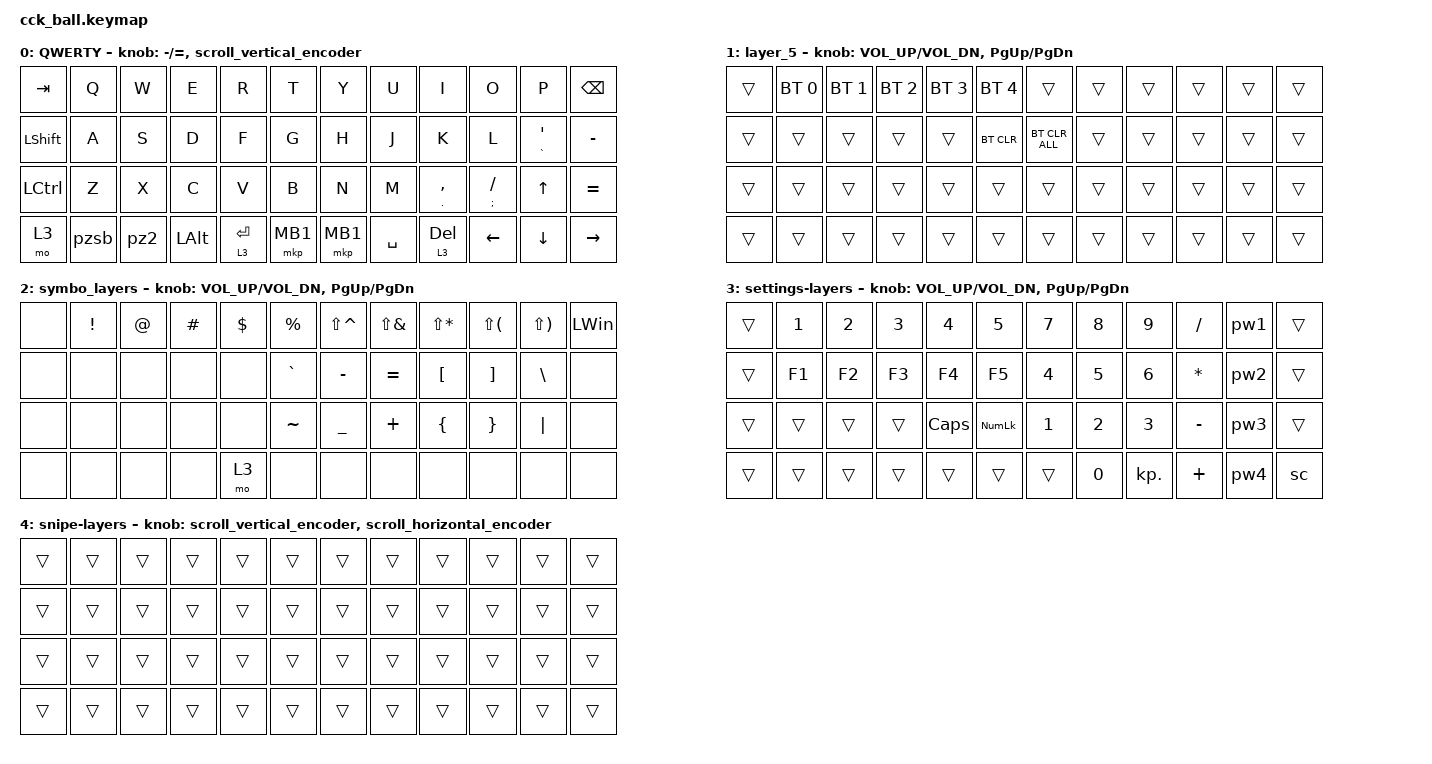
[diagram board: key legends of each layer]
#define ZMK_POINTING_DEFAULT_MOVE_VAL 1000 // 600
#define ZMK_POINTING_DEFAULT_SCRL_VAL 12   // 10

#include <input/processors.dtsi>
#include <zephyr/dt-bindings/input/input-event-codes.h>
#include <behaviors.dtsi>
#include <dt-bindings/zmk/bt.h>
#include <dt-bindings/zmk/keys.h>
#include <dt-bindings/zmk/pointing.h>

&mmv_input_listener { input-processors = <&zip_xy_scaler 2 1>; };

&msc_input_listener { input-processors = <&zip_scroll_scaler 2 1>; };

&msc {
    acceleration-exponent = <0>;      // 0
    time-to-max-speed-ms = <300>;       // 300
    delay-ms = <0>;                   // 0
};

&mmv {
    time-to-max-speed-ms = <500>;
    acceleration-exponent = <1>;
    trigger-period-ms = <16>;
};

&soft_off { hold-time-ms = <2000>; };

/ {
    // 上下滚动编码器行为

    scroll_vertical_encoder: scroll_vertical_encoder {
        compatible = "zmk,behavior-sensor-rotate";
        #sensor-binding-cells = <0>;
        bindings = <&msc SCRL_DOWN>, <&msc SCRL_UP>;

        tap-ms = <100>;
    };

    // 左右滚动编码器行为

    scroll_horizontal_encoder: scroll_horizontal_encoder {
        compatible = "zmk,behavior-sensor-rotate";
        #sensor-binding-cells = <0>;
        bindings = <&msc SCRL_LEFT>, <&msc SCRL_RIGHT>;

        tap-ms = <100>;
    };

    new_behavior: new_behavior {
        compatible = "zmk,behavior-sensor-rotate";
        #sensor-binding-cells = <0>;
        bindings = <&msc SCRL_UP>, <&msc SCRL_DOWN>;

        tap-ms = <100>;
        label = "NEW_BEHAVIOR";
    };

    behaviors {
    };

    combos {
        compatible = "zmk,combos";

        line {
            bindings = <&kp LS(LC(SPACE))>;
            key-positions = <3 4>;
        };

        lie {
            bindings = <&kp LA(LC(SPACE))>;
            key-positions = <3 16>;
        };

        sz {
            bindings = <&kp LS(LC(V))>;
            key-positions = <27 28>;
        };

        shaixuan {
            bindings = <&kp LS(LC(L))>;
            key-positions = <20 21>;
        };

        esc {
            bindings = <&kp ESC>;
            key-positions = <0 1>;
        };

        shunshi {
            bindings = <&mkp MB2>;
            key-positions = <42 43>;
        };

        enter {
            bindings = <&mkp MB2>;
            key-positions = <40 41>;
        };

        reset {
            bindings = <&tog 0>;
            key-positions = <36 37 38>;
        };

        lanya {
            bindings = <&mo 1>;
            key-positions = <36 47>;
        };

        mb {
            bindings = <&mkp MB1>;
            key-positions = <16 15>;
        };

        mb2 {
            bindings = <&mkp MB2>;
            key-positions = <14 15>;
        };

        ml {
            bindings = <&mo 3>;
            key-positions = <14 15 16>;
        };

        input {
            bindings = <&inputpw>;
            key-positions = <11 23>;
        };
    };

    macros {
        pw1: pw1 {
            compatible = "zmk,behavior-macro";
            #binding-cells = <0>;
            bindings = <&kp S &kp J &kp Z &kp N5 &kp N1 &kp N0 &kp N1 &kp N0 &kp N2 &kp N4>;
            label = "PW1";
        };

        pw2: pw2 {
            compatible = "zmk,behavior-macro";
            #binding-cells = <0>;
            bindings = <&kp D &kp L &kp H &kp N1 &kp N4 &kp N8 &kp N9 &kp N5 &kp N2>;
            label = "PW2";
        };

        pw3: pw3 {
            compatible = "zmk,behavior-macro";
            #binding-cells = <0>;
            bindings = <&kp LS(Z) &kp Z &kp N1 &kp N2 &kp N3 &kp N4 &kp N5 &kp N6 &kp AT>;
            label = "PW3";
        };

        pw4: pw4 {
            compatible = "zmk,behavior-macro";
            #binding-cells = <0>;
            bindings = <&kp N1 &kp N2 &kp N3 &kp N4 &kp N5 &kp N6>;
            label = "PW4";
        };

        sc: sc {
            compatible = "zmk,behavior-macro";
            #binding-cells = <0>;
            bindings =
                <&mkp MB1 &kp LC(A) &kp LC(V)>,
                <&macro_wait_time 100>,
                <&kp TAB &kp SPACE &kp LA(TAB)>,
                <&macro_wait_time 500>,
                <&kp DOWN_ARROW>,
                <&macro_wait_time 100>,
                <&kp LC(C) &kp LA(TAB)>;

            label = "SC";
        };

        inputpw: inputpw {
            compatible = "zmk,behavior-macro";
            #binding-cells = <0>;
            bindings =
                <&kp S &kp J &kp Z &kp N1 &kp N2 &kp N3 &kp N4 &kp N5 &kp N6>,
                <&macro_wait_time 100>,
                <&kp ENTER>;

            label = "INPUTPW";
        };

        yibaozhengming: yibaozhengming {
            compatible = "zmk,behavior-macro";
            #binding-cells = <0>;
            bindings =
                <&kp LC(C) &kp DOWN>,
                <&macro_wait_time 100>,
                <&kp LA(TAB)>,
                <&macro_wait_time 350>,
                <&mkp MB1 &kp LC(A)>,
                <&macro_wait_time 100>,
                <&kp LC(V)>,
                <&macro_wait_time 350>,
                <&kp TAB &kp TAB &kp TAB &kp TAB &kp SPACE>,
                <&macro_wait_time 350>,
                <&kp TAB &kp TAB &kp SPACE>;

            label = "YIBAOZHENGMING";
        };

        pzsb: pzsb {
            compatible = "zmk,behavior-macro";
            #binding-cells = <0>;
            bindings =
                <&macro_wait_time 100>,
                <&kp TAB &kp DOWN &kp ENTER>,
                <&macro_wait_time 100>,
                <&kp TAB &kp TAB &kp TAB &kp TAB &kp DOWN &kp DOWN &kp ENTER>,
                <&macro_wait_time 100>,
                <&kp TAB &kp TAB &kp TAB &kp TAB &kp TAB &kp TAB &kp TAB &kp TAB &kp TAB &kp ENTER>,
                <&macro_wait_time 100>;

            label = "PZSB";
        };

        pz2: pz2 {
            compatible = "zmk,behavior-macro";
            #binding-cells = <0>;
            bindings =
                <&kp TAB &kp TAB &kp ENTER &kp TAB &kp TAB &kp TAB &kp TAB &kp F &kp C &kp J &kp SPACE>,
                <&macro_wait_time 300>,
                <&kp TAB &kp SPACE>,
                <&macro_wait_time 300>,
                <&kp TAB &kp TAB &kp TAB &kp TAB &kp SPACE>,
                <&macro_wait_time 300>,
                <&kp TAB &kp TAB &kp TAB &kp TAB &kp ENTER &kp TAB &kp TAB &kp TAB &kp TAB>,
                <&macro_wait_time 200>,
                <&kp ESCAPE>;

            label = "PZ2";
        };
    };

    keymap {
        compatible = "zmk,keymap";

        QWERTY {
            bindings = <
&kp TAB           &kp Q  &kp W  &kp E         &kp R        &kp T     &kp Y     &kp U      &kp I             &kp O                &kp P                   &kp BACKSPACE
&kp LEFT_SHIFT    &kp A  &kp S  &kp D         &kp F        &kp G     &kp H     &kp J      &kp K             &kp L                &mt GRAVE SINGLE_QUOTE  &kp MINUS
&kp LEFT_CONTROL  &kp Z  &kp X  &kp C         &kp V        &kp B     &kp N     &kp M      &mt PERIOD COMMA  &mt SEMICOLON SLASH  &kp UP                  &kp EQUAL
&mo 3             &pzsb  &pz2   &kp LEFT_ALT  &lt 3 ENTER  &mkp MB1  &mkp MB1  &kp SPACE  &lt 3 DEL         &kp LEFT_ARROW       &kp DOWN_ARROW          &kp RIGHT_ARROW
            >;

            sensor-bindings =
                <&inc_dec_kp MINUS EQUAL>,
                <&scroll_vertical_encoder>;
        };

        layer_5 {
            bindings = <
&trans  &bt BT_SEL 0  &bt BT_SEL 1  &bt BT_SEL 2  &bt BT_SEL 3  &bt BT_SEL 4  &trans          &trans  &trans  &trans  &trans  &trans
&trans  &trans        &trans        &trans        &trans        &bt BT_CLR    &bt BT_CLR_ALL  &trans  &trans  &trans  &trans  &trans
&trans  &trans        &trans        &trans        &trans        &trans        &trans          &trans  &trans  &trans  &trans  &trans
&trans  &trans        &trans        &trans        &trans        &trans        &trans          &trans  &trans  &trans  &trans  &trans
            >;

            sensor-bindings =
                <&inc_dec_kp C_VOL_UP C_VOL_DN>,
                <&inc_dec_kp PG_UP PG_DN>;
        };

        symbo_layers {
            bindings = <
&none  &kp EXCL  &kp AT  &kp HASH  &kp DOLLAR  &kp PERCENT  &kp LS(CARET)  &kp LS(AMPS)  &kp LS(STAR)    &kp LS(LPAR)  &kp LS(RPAR)  &kp LEFT_WIN
&none  &none     &none   &none     &none       &kp GRAVE    &kp MINUS      &kp EQUAL     &kp LBKT        &kp RBKT      &kp BSLH      &none
&none  &none     &none   &none     &none       &kp TILDE    &kp UNDER      &kp PLUS      &kp LEFT_BRACE  &kp RBRC      &kp PIPE      &none
&none  &none     &none   &none     &mo 3       &none        &none          &none         &none           &none         &none         &none
            >;

            sensor-bindings = <&inc_dec_kp C_VOL_UP C_VOL_DN &inc_dec_kp PG_UP PG_DN>;
        };

        settings-layers {
            bindings = <
&trans  &kp N1  &kp N2  &kp N3  &kp N4    &kp N5          &kp N7  &kp N8  &kp N9      &kp FSLH   &pw1  &trans
&trans  &kp F1  &kp F2  &kp F3  &kp F4    &kp F5          &kp N4  &kp N5  &kp N6      &kp STAR   &pw2  &trans
&trans  &trans  &trans  &trans  &kp CAPS  &kp KP_NUMLOCK  &kp N1  &kp N2  &kp N3      &kp MINUS  &pw3  &trans
&trans  &trans  &trans  &trans  &trans    &trans          &trans  &kp N0  &kp KP_DOT  &kp PLUS   &pw4  &sc
            >;

            sensor-bindings = <&inc_dec_kp C_VOL_UP C_VOL_DN &inc_dec_kp PG_UP PG_DN>;
        };

        snipe-layers {
            bindings = <
&trans  &trans  &trans  &trans  &trans  &trans  &trans  &trans  &trans  &trans  &trans  &trans
&trans  &trans  &trans  &trans  &trans  &trans  &trans  &trans  &trans  &trans  &trans  &trans
&trans  &trans  &trans  &trans  &trans  &trans  &trans  &trans  &trans  &trans  &trans  &trans
&trans  &trans  &trans  &trans  &trans  &trans  &trans  &trans  &trans  &trans  &trans  &trans
            >;

            sensor-bindings =
                <&scroll_vertical_encoder>,
                // 编码器1：上下滚动,，,,,,,,,,,,,,,,,
                <&scroll_horizontal_encoder>;

            // 编码器2：左右滚动
        };
    };
};
